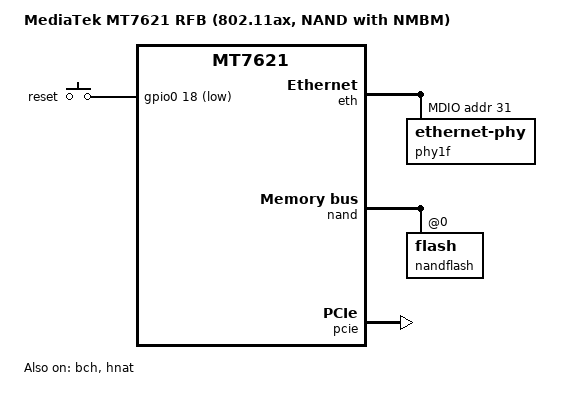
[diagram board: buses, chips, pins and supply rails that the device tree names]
/dts-v1/;

#include "mt7621.dtsi"
#include <dt-bindings/input/input.h>

/ {
	compatible = "mediatek,mt7621-rfb-ax-nmbm", "mediatek,mt7621-soc";
	model = "MediaTek MT7621 RFB (802.11ax, NAND with NMBM)";

	chosen {
		bootargs = "console=ttyS0,115200";
	};

	gpio-keys-polled {
		compatible = "gpio-keys-polled";
		#address-cells = <1>;
		#size-cells = <0>;
		poll-interval = <20>;

		reset {
			label = "reset";
			gpios = <&gpio0 18 1>;
			linux,code = <KEY_RESTART>;
		};
	};

	nmbm {
		compatible = "generic,nmbm";
		#address-cells = <1>;
		#size-cells = <1>;
		lower-mtd-device = <&nandflash>;
		forced-create;
		partitions {
			compatible = "fixed-partitions";
			#address-cells = <1>;
			#size-cells = <1>;

			partition@0 {
				label = "Bootloader";
				reg = <0x0 0x80000>;
			};

			partition@80000 {
				label = "u-boot-env";
				reg = <0x80000 0x80000>;
			};

			partition@100000 {
				label = "Factory";
				reg = <0x100000 0x80000>;
			};

			partition@180000 {
				label = "firmware";
				reg = <0x180000 0x2800000>;
			};

			partition@2980000 {
				label = "firmware_1";
				reg = <0x2980000 0x2800000>;
			};

			partition@5180000 {
				label = "rootfs_data";
				reg = <0x5180000 0x1400000>;
			};

			partition@6580000 {
				label = "logs";
				reg = <0x6580000 0xd00000>;
			};

			partition@7280000 {
				label = "myzyxel";
				reg = <0x7280000 0x480000>;
			};

			partition@7700000 {
				label = "bootconfig";
				reg = <0x7700000 0x80000>;
			};

			partition@7780000 {
				label = "mrd";
				reg = <0x7780000 0x80000>;
			};
		};
	};
};

&bch {
	status = "okay";
};

&eth {
        status = "okay";

        gmac0: mac@0 {
                compatible = "mediatek,eth-mac";
                reg = <0>;
                phy-mode = "trgmii";
                fixed-link {
                        speed = <1000>;
                        full-duplex;
                        pause;
                };
        };

        gmac1: mac@1 {
                compatible = "mediatek,eth-mac";
                reg = <1>;
                phy-mode = "rgmii";
                fixed-link {
                        speed = <1000>;
                        full-duplex;
                        pause;
                };
        };

        mdio: mdio-bus {
                #address-cells = <1>;
                #size-cells = <0>;

                phy1f: ethernet-phy@1f {
                        reg = <0x1f>;
                        phy-mode = "rgmii";
                };
        };
};

&gsw {
        mediatek,mdio = <&mdio>;
        mediatek,portmap = "llllw";
        mediatek,mcm;
	mt7530,direct-phy-access;

        resets = <&rstctrl 2>;
        reset-names = "mcm";

        port5: port@5 {
                status = "disabled";
                compatible = "mediatek,mt753x-port";
                reg = <5>;
                phy-mode = "rgmii";
                fixed-link {
                        speed = <1000>;
                        full-duplex;
                };
        };

        port6: port@6 {
                compatible = "mediatek,mt753x-port";
                reg = <6>;
                phy-mode = "trgmii";
                fixed-link {
                        speed = <1000>;
                        full-duplex;
                };
        };

        mdio-bus {
                #address-cells = <1>;
                #size-cells = <0>;
        };
};

&hnat {
        mtketh-wan = "eth1";
        mtketh-ppd = "eth0";
	ext-devices = "rax0", "ra0", "rax1", "ra1", "rax2", "ra2", "rax3", "ra3", "apclix0", "apcli0";
        mtketh-max-gmac = <2>;
        status = "okay";
};

&nand {
	status = "okay";

	nandflash: flash@0 {
		reg = <0>;
		nand-ecc-mode = "hw";
		partitions {
			compatible = "fixed-partitions";
			#address-cells = <1>;
			#size-cells = <1>;
		};
	};
};

&pinctrl {
	state_default: pinctrl0 {
		gpio {
			mtk,group = "i2c";
			mtk,function = "gpio";
		};

		uart2 {
			mtk,group = "uart2";
			mtk,function = "gpio";
		};

		uart3 {
			mtk,group = "uart3";
			mtk,function = "gpio";
		};

		rgmii2 {
			mtk,group = "rgmii2";
			mtk,function = "gpio";
		};
	};
};

&uartfull1 {
	status = "disabled";
};

&uartfull2 {
	status = "disabled";
};

&pcie {
	status = "okay";
};

&u3phy1 {
	status = "disabled";
};

&xhci {
	status = "disabled";
};

/ {
	zy_platform_gpios {
		compatible = "zy-platform-gpios";

		/* Red */
		led_sys {
			feature-en = <1>;
			gpios = <&gpio0 6 0>;
			init-output-low;
			gpio-location = <0>;
			is-led = <1>;
			is-support-suppress = <1>;
			is-support-locator = <1>;
			is-support-blink = <1>;
		};

		/* Green */
		led_power {
			feature-en = <1>;
			gpios = <&gpio0 7 0>;
			init-output-high;
			gpio-location = <0>;
			is-led = <1>;
			is-support-suppress = <1>;
			is-support-locator = <1>;
			is-support-blink = <1>;
		};

		/* Blue */
		led_mgmt {
			feature-en = <1>;
			gpios = <&gpio0 8 0>;
			init-output-low;
			gpio-location = <0>;
			is-led = <1>;
			is-support-suppress = <1>;
			is-support-locator = <1>;
			is-support-blink = <1>;
		};

		/* Output to PCIe reset */
		rst_pcie {
			feature-en = <1>;
			gpios = <&gpio0 19 1>;
			init-output-high;
		};

		/* Output to MR */
		rst_mb {
			feature-en = <1>;
			gpios = <&gpio0 22 1>;
			init-output-high;
		};

		/* Output to WiFi MAC reset */
		rst_wifi_mac {
			feature-en = <1>;
			gpios = <&gpio0 24 1>;
			init-output-high;
		};

		apd_dc_in {
			feature-en = <0>;
			gpios = <&gpio0 28 1>;
			init-input-enable;
		};

		poe_status {
			feature-en = <0>;
			gpios = <&gpio0 29 0>;
			init-input-enable;
		};

		/* Reset button */
		btn_rst_mb {
			feature-en = <1>;
			gpios = <&gpio0 30 1>;
			init-input-enable;
			debounce-interval = <60>;
		};

		board_info_1 {
			feature-en = <1>;
			gpios = <&gpio0 31 0>;
			init-input-enable;
		};

		board_info_2 {
			feature-en = <1>;
			gpios = <&gpio1 0 0>; //GPIO32 in bank@1
			init-input-enable;
		};
	};
};
